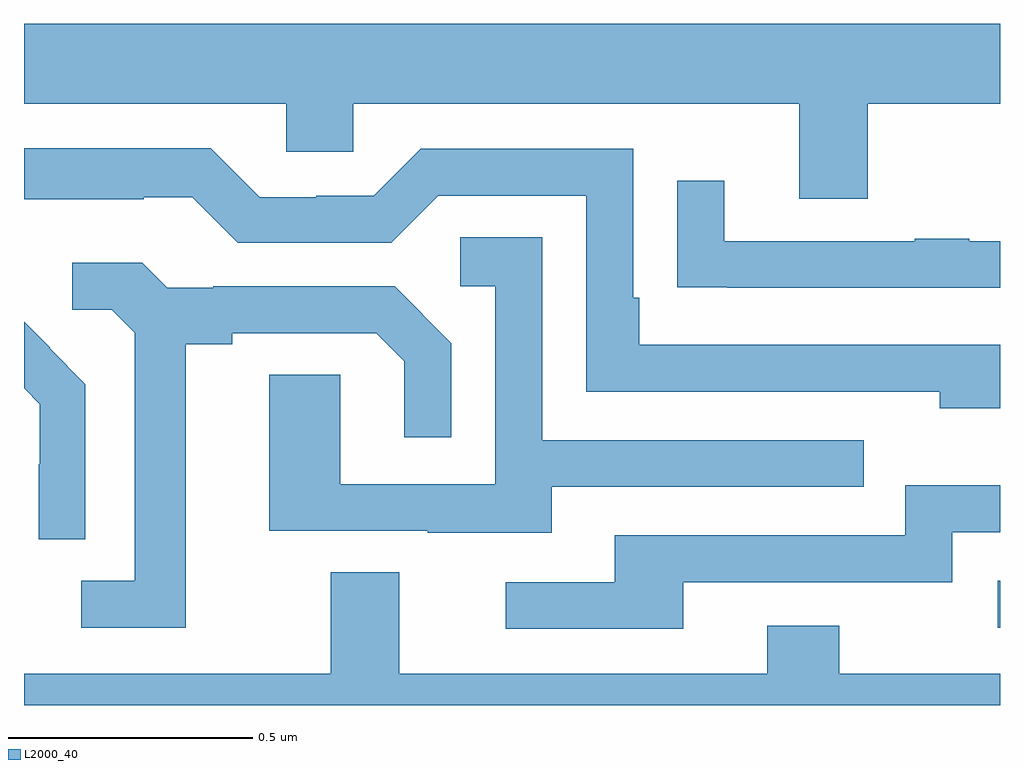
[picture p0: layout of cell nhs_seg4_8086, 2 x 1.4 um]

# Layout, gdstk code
import gdstk
lib = gdstk.Library(unit=1e-6, precision=1e-09)
def R(c, l, rs):  # rectangles x0, y0, x1, y1
    for r in rs: c.add(gdstk.rectangle(r[:2], r[2:], *l))
def P(c, l, *ps):  # polygons
    for p in ps: c.add(gdstk.Polygon(p, *l))
L2000_40 = (2000, 40)

nhs_seg4_8086 = lib.new_cell('nhs_seg4_8086')
R(nhs_seg4_8086, L2000_40, [(211.995,817.059,212,817.155)])
P(nhs_seg4_8086, L2000_40, [(211.729,818.132),(212,818.132),(212,818.296),(210,818.296),(210,818.132),(210.537,818.132),(210.537,818.034),(210.675,818.034),(210.675,818.132),(211.589,818.132),(211.589,817.938),(211.729,817.938)],
  [(212,817.638),(211.261,817.638),(211.261,817.735),(211.248,817.735),(211.248,818.04),(210.813,818.04),(210.717,817.944),(210.599,817.944),(210.599,817.941),(210.483,817.941),(210.383,818.041),(210,818.041),(210,817.937),(210.245,817.937),(210.245,817.941),(210.345,817.941),(210.438,817.848),(210.753,817.848),(210.849,817.944),(211.152,817.944),(211.152,817.542),(211.877,817.542),(211.877,817.508),(212,817.508)],
  [(212,817.851),(211.937,817.851),(211.937,817.856),(211.825,817.856),(211.825,817.851),(211.435,817.851),(211.435,817.975),(211.339,817.975),(211.339,817.756),(211.441,817.756),(211.441,817.755),(212,817.755)],
  [(211.081,817.347),(211.721,817.347),(211.721,817.443),(211.062,817.443),(211.062,817.859),(210.894,817.859),(210.894,817.758),(210.966,817.758),(210.966,817.353),(210.648,817.353),(210.648,817.577),(210.503,817.577),(210.503,817.257),(210.827,817.257),(210.827,817.253),(211.081,817.253)],
  [(210.331,817.64),(210.427,817.64),(210.427,817.662),(210.722,817.662),(210.779,817.605),(210.779,817.449),(210.876,817.449),(210.876,817.642),(210.76,817.758),(210.388,817.758),(210.388,817.755),(210.294,817.755),(210.242,817.807),(210.099,817.807),(210.099,817.71),(210.18,817.71),(210.227,817.663),(210.227,817.155),(210.117,817.155),(210.117,817.059),(210.331,817.059)],
  [(210.126,817.558),(210.053,817.631),(210.054,817.632),(210,817.686),(210,817.549),(210.032,817.517),(210.032,817.394),(210.03,817.394),(210.03,817.24),(210.126,817.24)],
  [(211.351,817.152),(211.902,817.152),(211.902,817.254),(212,817.254),(212,817.351),(211.806,817.351),(211.806,817.248),(211.211,817.248),(211.211,817.152),(210.987,817.152),(210.987,817.056),(211.351,817.056)],
  [(212,816.964),(211.671,816.964),(211.671,817.063),(211.523,817.063),(211.523,816.964),(210.769,816.964),(210.769,817.172),(210.629,817.172),(210.629,816.964),(210,816.964),(210,816.9),(212,816.9)])

lib.write_gds('nhs_seg4_8086.gds')
